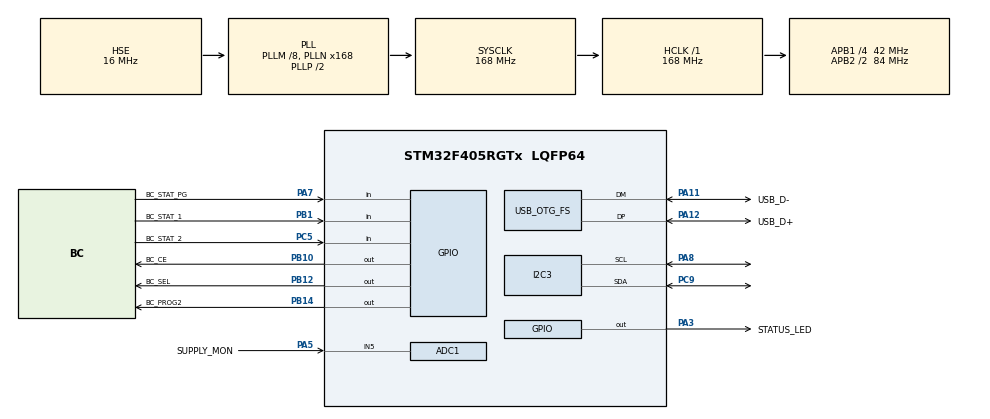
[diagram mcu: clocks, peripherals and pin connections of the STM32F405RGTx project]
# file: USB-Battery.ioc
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ADC1.Channel-0\#ChannelRegularConversion=ADC_CHANNEL_5
ADC1.ClockPrescaler=ADC_CLOCK_SYNC_PCLK_DIV8
ADC1.ContinuousConvMode=ENABLE
ADC1.DMAContinuousRequests=ENABLE
ADC1.EOCSelection=ADC_EOC_SINGLE_CONV
ADC1.NbrOfConversionFlag=1
ADC1.Rank-0\#ChannelRegularConversion=1
ADC1.SamplingTime-0\#ChannelRegularConversion=ADC_SAMPLETIME_112CYCLES
ADC1.ScanConvMode=DISABLE
ADC1.master=1
Dma.ADC1.0.Direction=DMA_PERIPH_TO_MEMORY
Dma.ADC1.0.FIFOMode=DMA_FIFOMODE_DISABLE
Dma.ADC1.0.Instance=DMA2_Stream0
Dma.ADC1.0.MemDataAlignment=DMA_MDATAALIGN_HALFWORD
Dma.ADC1.0.MemInc=DMA_MINC_DISABLE
Dma.ADC1.0.Mode=DMA_CIRCULAR
Dma.ADC1.0.PeriphDataAlignment=DMA_PDATAALIGN_HALFWORD
Dma.ADC1.0.PeriphInc=DMA_PINC_DISABLE
Dma.ADC1.0.Priority=DMA_PRIORITY_LOW
Dma.Request0=ADC1
FREERTOS.BinarySemaphores01=usbTxAvailable,Static,usbTxAvailableControlBlock
FREERTOS.Queues01=usbRxQueue,16,bcu_usb_msg,0,Static,usbRxQueueBuffer,usbRxQueueControlBlock;usbTxQueue,16,stm32_cmd_msg_t,0,Static,usbTxQueueBuffer,usbTxQueueControlBlock
FREERTOS.Tasks01=defaultTask,0,512,StartDefaultTask,Default,NULL,Dynamic,NULL,NULL;usbRxTask,0,512,UsbReceive,Default,NULL,Dynamic,NULL,NULL;usbTxTask,0,512,UsbTransmit,Default,NULL,Dynamic,NULL,NULL
FREERTOS.configMINIMAL_STACK_SIZE=512
FREERTOS.configUSE_NEWLIB_REENTRANT=1
Mcu.Family=STM32F4
Mcu.Name=STM32F405RGTx
Mcu.Package=LQFP64
NVIC.ADC_IRQn=true\:5\:0\:false\:false\:true\:true\:true\:true\:true
NVIC.DMA2_Stream0_IRQn=true\:5\:0\:false\:false\:true\:true\:false\:true\:true
NVIC.OTG_FS_IRQn=true\:5\:0\:false\:false\:true\:true\:false\:true\:true
NVIC.PriorityGroup=NVIC_PRIORITYGROUP_4
NVIC.TIM2_IRQn=true\:5\:0\:false\:false\:true\:true\:true\:true\:true
NVIC.TIM6_DAC_IRQn=true\:15\:0\:false\:false\:true\:false\:false\:true\:true
NVIC.TimeBase=TIM6_DAC_IRQn
NVIC.TimeBaseIP=TIM6
PA11.GPIO_Label=USB_D-
PA11.Mode=Device_Only
PA11.Signal=USB_OTG_FS_DM
PA12.GPIO_Label=USB_D+
PA12.Mode=Device_Only
PA12.Signal=USB_OTG_FS_DP
PA13.Mode=Trace_Asynchronous_SW
PA13.Signal=SYS_JTMS-SWDIO
PA14.Mode=Trace_Asynchronous_SW
PA14.Signal=SYS_JTCK-SWCLK
PA3.GPIO_Label=STATUS_LED
PA3.Signal=GPIO_Output
PA5.GPIO_Label=SUPPLY_MON
PA5.Signal=ADCx_IN5
PA7.GPIO_Label=BC_STAT_PG
PA7.GPIO_PuPd=GPIO_NOPULL
PA7.Signal=GPIO_Input
PA8.Mode=I2C
PA8.Signal=I2C3_SCL
PB1.GPIO_Label=BC_STAT_1
PB1.GPIO_PuPd=GPIO_NOPULL
PB1.Signal=GPIO_Input
PB10.GPIO_Label=BC_CE
PB10.Signal=GPIO_Output
PB12.GPIO_Label=BC_SEL
PB12.Signal=GPIO_Output
PB14.GPIO_Label=BC_PROG2
PB14.PinState=GPIO_PIN_SET
PB14.Signal=GPIO_Output
PB3.Mode=Trace_Asynchronous_SW
PB3.Signal=SYS_JTDO-SWO
PC5.GPIO_Label=BC_STAT_2
PC5.Signal=GPIO_Input
PC9.Mode=I2C
PC9.Signal=I2C3_SDA
PH0-OSC_IN.GPIO_Label=HSE_IN
PH0-OSC_IN.Mode=HSE-External-Oscillator
PH0-OSC_IN.Signal=RCC_OSC_IN
PH1-OSC_OUT.GPIO_Label=HSE_OUT
PH1-OSC_OUT.Mode=HSE-External-Oscillator
PH1-OSC_OUT.Signal=RCC_OSC_OUT
ProjectManager.HeapSize=0x200
ProjectManager.StackSize=0x400
ProjectManager.TargetToolchain=STM32CubeIDE
RCC.48MHZClocksFreq_Value=48000000
RCC.AHBFreq_Value=168000000
RCC.APB1CLKDivider=RCC_HCLK_DIV4
RCC.APB1Freq_Value=42000000
RCC.APB1TimFreq_Value=84000000
RCC.APB2CLKDivider=RCC_HCLK_DIV2
RCC.APB2Freq_Value=84000000
RCC.APB2TimFreq_Value=168000000
RCC.CortexFreq_Value=168000000
RCC.EnbaleCSS=true
RCC.HCLKFreq_Value=168000000
RCC.HSE_VALUE=16000000
RCC.HSI_VALUE=16000000
RCC.LSE_VALUE=32768
RCC.PLLM=8
RCC.PLLN=168
RCC.PLLQ=7
RCC.RCC_RTC_Clock_SourceVirtual=RCC_RTCCLKSOURCE_HSE_DIV16
RCC.RCC_RTC_Clock_Source_FROM_HSE=RCC_RTCCLKSOURCE_HSE_DIV16
RCC.SYSCLKFreq_VALUE=168000000
RCC.SYSCLKSource=RCC_SYSCLKSOURCE_PLLCLK
RCC.VCOOutputFreq_Value=336000000
RTC.AsynchPrediv=100-1
RTC.SynchPrediv=10000-1
SH.ADCx_IN5.0=ADC1_IN5,IN5
TIM1.Period=0xffff-1
TIM1.Prescaler=168-1
TIM2.Period=1000000-1
TIM2.Prescaler=83
USB_DEVICE.CLASS_NAME_FS=CDC
USB_DEVICE.VirtualMode-CDC_FS=Cdc
USB_DEVICE.VirtualModeFS=Cdc_FS
USB_OTG_FS.VirtualMode=Device_Only
VP_FREERTOS_VS_CMSIS_V1.Mode=CMSIS_V1
VP_RTC_VS_RTC_Activate.Mode=RTC_Enabled
VP_RTC_VS_RTC_Calendar.Mode=RTC_Calendar
VP_SYS_VS_tim6.Mode=TIM6
VP_TIM1_VS_ClockSourceINT.Mode=Internal
VP_TIM2_VS_ClockSourceINT.Mode=Internal
VP_USB_DEVICE_VS_USB_DEVICE_CDC_FS.Mode=CDC_FS
board=custom

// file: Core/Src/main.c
/* USER CODE BEGIN Header */
/**
 ******************************************************************************
 * @file           : main.c
 * @brief          : Main program body
 ******************************************************************************
 * @attention
 *
 * Copyright (c) 2024 STMicroelectronics.
 * All rights reserved.
 *
 * This software is licensed under terms that can be found in the LICENSE file
 * in the root directory of this software component.
 * If no LICENSE file comes with this software, it is provided AS-IS.
 *
 ******************************************************************************
 */
/* USER CODE END Header */
#include "main.h"
#include "cmsis_os.h"
#include "usb_device.h"

/* USER CODE BEGIN Includes */
#include "driver_ina219_interface.h"
#include "usbd_cdc_if.h"
#include "slip.h"
#include "stm32_msg.h"
/* USER CODE END Includes */

/* USER CODE BEGIN PTD */
typedef struct {
	uint8_t data[16];
} bcu_usb_msg;
/* USER CODE END PTD */

/* USER CODE BEGIN PD */
#define true 1
#define false 0
/* USER CODE END PD */

ADC_HandleTypeDef hadc1;
DMA_HandleTypeDef hdma_adc1;

I2C_HandleTypeDef hi2c3;

RTC_HandleTypeDef hrtc;

TIM_HandleTypeDef htim1;
TIM_HandleTypeDef htim2;

osThreadId defaultTaskHandle;
osThreadId usbRxTaskHandle;
osThreadId usbTxTaskHandle;
osMessageQId usbRxQueueHandle;
uint8_t usbRxQueueBuffer[ 16 * sizeof( bcu_usb_msg ) ];
osStaticMessageQDef_t usbRxQueueControlBlock;
osMessageQId usbTxQueueHandle;
uint8_t usbTxQueueBuffer[ 16 * sizeof( stm32_cmd_msg_t ) ];
osStaticMessageQDef_t usbTxQueueControlBlock;
osSemaphoreId usbTxAvailableHandle;
osStaticSemaphoreDef_t usbTxAvailableControlBlock;
/* USER CODE BEGIN PV */
static ina219_handle_t gs_handle; /**< ina219 handle */
bm_data_t bm_data = { 0, 0, 0 };
RTC_TimeTypeDef gsTime = { 0 };
RTC_DateTypeDef gsDate = { 0 };

RTC_TimeTypeDef guTime = { 0 };
RTC_DateTypeDef guDate = { 0 };
uint8_t dateReadyToSet = 0;
uint32_t upTime = 0;

/* USER CODE END PV */

void SystemClock_Config(void);
static void MX_GPIO_Init(void);
static void MX_DMA_Init(void);
static void MX_RTC_Init(void);
static void MX_TIM2_Init(void);
static void MX_TIM1_Init(void);
static void MX_I2C3_Init(void);
static void MX_ADC1_Init(void);
void StartDefaultTask(void const * argument);
void UsbReceive(void const * argument);
void UsbTransmit(void const * argument);

/* USER CODE BEGIN 0 */

uint8_t SYS_handle_request(stm32_cmd_msg_t *request_msg,
		stm32_cmd_msg_t *reply_msg) {
	uint8_t ret = STM32_CMD_STATUS_REPLY_READY;

	switch (request_msg->cmd_addr) {

	case STM_MSG_SYS_DATEH:
		reply_msg->data = ((gsDate.Month << 8) | gsDate.WeekDay);
		break;

	case STM_MSG_SYS_DATEL:
		reply_msg->data = ((gsDate.Year << 8) | gsDate.Date);
		break;

	case STM_MSG_SYS_TIMEH:
		reply_msg->data = ((gsTime.Minutes << 8) | gsTime.Hours);
		break;

	case STM_MSG_SYS_TIMEL:
		reply_msg->data = ((gsTime.TimeFormat << 8) | gsTime.Seconds);
		break;

	case STM_MSG_SYS_UPTIME:

		break;

	default:
		ret = STM32_CMD_STATUS_UNKNOWN_CMD;
		break;

	}

	return ret;
}

uint8_t SYS_handle_command(stm32_cmd_msg_t *cmd_msg) {
	uint8_t ret = STM32_CMD_STATUS_NO_REPLY;

	switch (cmd_msg->cmd_addr) {

	case STM_MSG_SYS_DATEH:
		guDate.Month = (uint8_t) (cmd_msg->data >> 8);
		guDate.WeekDay = (uint8_t) (cmd_msg->data & 0x00ff);
		break;

	case STM_MSG_SYS_DATEL:
		guDate.Year = (uint8_t) (cmd_msg->data >> 8);
		guDate.Date = (uint8_t) (cmd_msg->data & 0x00ff);
		break;

	case STM_MSG_SYS_TIMEH:
		guTime.Minutes = (uint8_t) (cmd_msg->data >> 8);
		guTime.Hours = (uint8_t) (cmd_msg->data & 0x00ff);
		// bm_data.control = cmd_msg->data;
		break;

	case STM_MSG_SYS_TIMEL:
		// bm_data.control = cmd_msg->data;
		bool setDateTime = cmd_msg->data & 0x8000;
		guTime.TimeFormat = (uint8_t) ((cmd_msg->data >> 8) & 0x0001);
		guTime.Seconds = (uint8_t) (cmd_msg->data & 0x00ff);
		if (setDateTime) {
			guTime.DayLightSaving = RTC_DAYLIGHTSAVING_NONE;
			guTime.StoreOperation = RTC_STOREOPERATION_SET;
			if (HAL_RTC_SetTime(&hrtc, &guTime, RTC_FORMAT_BIN) != HAL_OK) {
				Error_Handler();
			}

			if (HAL_RTC_SetDate(&hrtc, &guDate, RTC_FORMAT_BIN) != HAL_OK) {
				Error_Handler();
			}
		}
		break;

	default:
		ret = STM32_CMD_STATUS_UNKNOWN_CMD;
		break;
	}
	return ret;
}

/**
 * @brief      Handle request to read an INA219 register
 *
 * @param      request_msg  The request message
 * @param      reply_msg    The reply message
 *
 * @return     Status
 */
uint8_t INA219_handle_request(stm32_cmd_msg_t *request_msg,
		stm32_cmd_msg_t *reply_msg) {
	uint8_t status;
	uint8_t ret = STM32_CMD_STATUS_REPLY_READY;
	status = ina219_get_reg(&gs_handle, request_msg->cmd_addr,
			&reply_msg->data);
	if (status != 0) {
		ret = STM32_CMD_STATUS_REPLY_ERROR;
	}
	return ret;
}

/**
 * @brief      Handle command to set an INA219 register
 *
 * @param      cmd_msg  The command message
 *
 * @return     Status
 */
uint8_t INA219_handle_command(stm32_cmd_msg_t *cmd_msg) {
	uint8_t status;
	uint8_t ret = STM32_CMD_STATUS_NO_REPLY;
	status = ina219_set_reg(&gs_handle, (uint8_t) cmd_msg->cmd_addr,
			cmd_msg->data);
	if (status != 0) {
		ret = STM32_CMD_STATUS_ERROR;
	}
	return ret;
}

/**
 * @brief      Handle request to read a Battery Charger register
 *
 * @param      request_msg  The request message
 * @param      reply_msg    The reply message
 *
 * @return     Status
 */
uint8_t BC_handle_request(stm32_cmd_msg_t *request_msg,
		stm32_cmd_msg_t *reply_msg) {

	uint8_t ret = STM32_CMD_STATUS_REPLY_READY;

	switch (request_msg->cmd_addr) {

	case STM_MSG_BC_STAT:
		reply_msg->data = bm_data.stat;
		break;

	case STM_MSG_BC_CONTROL:
		reply_msg->data = bm_data.control;
		break;

	case STM_MSG_BC_VSUPPLY:
		reply_msg->data = bm_data.vsupply;
		break;

	default:
		ret = STM32_CMD_STATUS_UNKNOWN_CMD;
		break;
	}
	return ret;
}

/**
 * @brief      Handle command to set a Battery Charger register
 *
 * @param      cmd_msg  The command message
 *
 * @return     Status
 */
uint8_t BC_handle_command(stm32_cmd_msg_t *cmd_msg) {
	uint8_t ret = STM32_CMD_STATUS_NO_REPLY;

	switch (cmd_msg->cmd_addr) {

	case STM_MSG_BC_CONTROL:
		bm_data.control = cmd_msg->data;
		break;

	default:
		ret = STM32_CMD_STATUS_UNKNOWN_CMD;
		break;
	}
	return ret;
}

/**
 * @brief      USB command handler table
 */

static stm32_msg_handler_t usb_command_handler[] = { { STM32_MSG_GROUP_SYS,
		&SYS_handle_request, &SYS_handle_command }, { STM32_MSG_GROUP_INA219,
		&INA219_handle_request, &INA219_handle_command }, { STM32_MSG_GROUP_BC,
		&BC_handle_request, &BC_handle_command } };

#define STM32_MSG_GROUP_MAX ((sizeof(usb_command_handler) / sizeof(stm32_msg_handler_t)) - 1)

/**
 * @brief  interface iic bus init
 * @return status code
 *         - 0 success
 *         - 1 iic init failed
 * @note   none
 */
uint8_t ina219_hw_interface_iic_init(void) {
	return 0;
}

/**
 * @brief  interface iic bus deinit
 * @return status code
 *         - 0 success
 *         - 1 iic deinit failed
 * @note   none
 */
uint8_t ina219_hw_interface_iic_deinit(void) {
	return 0;
}

/**
 * @brief      interface iic bus read
 * @param[in]  addr is the iic device write address
 * @param[in]  reg is the iic register address
 * @param[out] *buf points to a data buffer
 * @param[in]  len is the length of the data buffer
 * @return     status code
 *             - 0 success;
 *             - 1 read failed
 * @note       none
 */
uint8_t ina219_hw_interface_iic_read(uint8_t addr, uint8_t reg, uint8_t *buf,
		uint16_t len) {
	HAL_StatusTypeDef halStatus;

	halStatus = HAL_I2C_Mem_Read(&hi2c3, addr, reg, 1, buf, len, 5000);

	return (halStatus != HAL_OK);
}

/**
 * @brief     interface iic bus write
 * @param[in] addr is the iic device write address
 * @param[in] reg is the iic register address
 * @param[in] *buf points to a data buffer
 * @param[in] len is the length of the data buffer
 * @return    status code
 *            - 0 success
 *            - 1 write failed
 * @note      none
 */
uint8_t ina219_hw_interface_iic_write(uint8_t addr, uint8_t reg, uint8_t *buf,
		uint16_t len) {
	HAL_StatusTypeDef halStatus;

	halStatus = HAL_I2C_Mem_Write(&hi2c3, addr, reg, 1, buf, len, 5000);

	return (halStatus != HAL_OK);
}

uint8_t ina219_basic_init(ina219_address_t addr_pin, double r) {
	uint8_t res;
	uint16_t calibration;

	/* link interface function */
	DRIVER_INA219_LINK_INIT(&gs_handle, ina219_handle_t);
	DRIVER_INA219_LINK_IIC_INIT(&gs_handle, ina219_hw_interface_iic_init);
	DRIVER_INA219_LINK_IIC_DEINIT(&gs_handle, ina219_hw_interface_iic_deinit);
	DRIVER_INA219_LINK_IIC_READ(&gs_handle, ina219_hw_interface_iic_read);
	DRIVER_INA219_LINK_IIC_WRITE(&gs_handle, ina219_hw_interface_iic_write);
	DRIVER_INA219_LINK_DELAY_MS(&gs_handle, ina219_interface_delay_ms);
	DRIVER_INA219_LINK_DEBUG_PRINT(&gs_handle, ina219_interface_debug_print);

	/* set addr pin */
	res = ina219_set_addr_pin(&gs_handle, addr_pin);
	if (res != 0) {
		printf("ina219: set addr pin failed.\n");

		return 1;
	}

	/* set the r */
	res = ina219_set_resistance(&gs_handle, r);
	if (res != 0) {
		printf("ina219: set resistance failed.\n");

		return 1;
	}

	/* init */
	res = ina219_init(&gs_handle);
	if (res != 0) {
		printf("ina219: init failed.\n");

		return 1;
	}

	/* set bus voltage range */
	res = ina219_set_bus_voltage_range(&gs_handle,
			INA219_BUS_VOLTAGE_RANGE_16V);
	if (res != 0) {
		printf("ina219: set bus voltage range failed.\n");
		(void) ina219_deinit(&gs_handle);

		return 1;
	}

	/* set bus voltage adc mode */
	res = ina219_set_bus_voltage_adc_mode(&gs_handle,
			INA219_ADC_MODE_12_BIT_16_SAMPLES);
	if (res != 0) {
		printf("ina219: set bus voltage adc mode failed.\n");
		(void) ina219_deinit(&gs_handle);

		return 1;
	}

	/* set shunt voltage adc mode */
	res = ina219_set_shunt_voltage_adc_mode(&gs_handle,
			INA219_ADC_MODE_12_BIT_16_SAMPLES);
	if (res != 0) {
		printf("ina219: set shunt voltage adc mode failed.\n");
		(void) ina219_deinit(&gs_handle);

		return 1;
	}

	/* set shunt bus voltage continuous */
	res = ina219_set_mode(&gs_handle, INA219_MODE_SHUNT_BUS_VOLTAGE_CONTINUOUS);
	if (res != 0) {
		printf("ina219: set mode failed.\n");
		(void) ina219_deinit(&gs_handle);

		return 1;
	}

	/* set pga */
	res = ina219_set_pga(&gs_handle, INA219_PGA_320_MV);
	if (res != 0) {
		printf("ina219: set pga failed.\n");
		(void) ina219_deinit(&gs_handle);

		return 1;
	}

	/* calculate calibration */
	res = ina219_calculate_calibration(&gs_handle, (uint16_t*) &calibration);
	if (res != 0) {
		printf("ina219: calculate calibration failed.\n");
		(void) ina219_deinit(&gs_handle);

		return 1;
	}

	/* set calibration */
	res = ina219_set_calibration(&gs_handle, calibration);
	if (res != 0) {
		printf("ina219: set calibration failed.\n");
		(void) ina219_deinit(&gs_handle);

		return 1;
	}

	return 0;
}

uint8_t ina219_basic_read(float *mV, float *mA, float *mW) {
	uint8_t res;
	int16_t s_raw;
	uint16_t u_raw;

	/* read bus voltage */
	res = ina219_read_bus_voltage(&gs_handle, (uint16_t*) &u_raw, mV);
	if (res != 0) {
		return 1;
	}

	/* read current */
	res = ina219_read_current(&gs_handle, (int16_t*) &s_raw, mA);
	if (res != 0) {
		return 1;
	}

	/* read power */
	res = ina219_read_power(&gs_handle, (uint16_t*) &u_raw, mW);
	if (res != 0) {
		return 1;
	}

	return 0;
}
/* USER CODE END 0 */

int main(void)
{
  /* USER CODE BEGIN 1 */
	uint8_t status;

  /* USER CODE END 1 */

  /* MCU Configuration--------------------------------------------------------*/

  /* Reset of all peripherals, Initializes the Flash interface and the Systick. */
  HAL_Init();

  /* Configure the system clock */
  SystemClock_Config();

  /* Initialize all configured peripherals */
  MX_GPIO_Init();
  MX_DMA_Init();
  MX_RTC_Init();
  MX_TIM2_Init();
  MX_TIM1_Init();
  MX_I2C3_Init();
  MX_ADC1_Init();
  /* USER CODE BEGIN 2 */

	// DWT_Delay_Init();
	status = ina219_basic_init(INA219_ADDRESS_0, 0.1);

	printf("INA219 Status = %d\n", status);

	HAL_GPIO_WritePin(BC_SEL_GPIO_Port, BC_SEL_Pin, GPIO_PIN_SET);
	HAL_GPIO_WritePin(BC_PROG2_GPIO_Port, BC_PROG2_Pin, GPIO_PIN_SET);

	HAL_GPIO_WritePin(BC_CE_GPIO_Port, BC_CE_Pin, GPIO_PIN_SET);

	HAL_TIM_Base_Start_IT(&htim2);

  /* USER CODE END 2 */

  /* Create the semaphores(s) */
  /* definition and creation of usbTxAvailable */
  osSemaphoreStaticDef(usbTxAvailable, &usbTxAvailableControlBlock);
  usbTxAvailableHandle = osSemaphoreCreate(osSemaphore(usbTxAvailable), 1);

  /* Create the queue(s) */
  /* definition and creation of usbRxQueue */
  osMessageQStaticDef(usbRxQueue, 16, bcu_usb_msg, usbRxQueueBuffer, &usbRxQueueControlBlock);
  usbRxQueueHandle = osMessageCreate(osMessageQ(usbRxQueue), NULL);

  /* definition and creation of usbTxQueue */
  osMessageQStaticDef(usbTxQueue, 16, stm32_cmd_msg_t, usbTxQueueBuffer, &usbTxQueueControlBlock);
  usbTxQueueHandle = osMessageCreate(osMessageQ(usbTxQueue), NULL);

  /* Create the thread(s) */
  /* definition and creation of defaultTask */
  osThreadDef(defaultTask, StartDefaultTask, osPriorityNormal, 0, 512);
  defaultTaskHandle = osThreadCreate(osThread(defaultTask), NULL);

  /* definition and creation of usbRxTask */
  osThreadDef(usbRxTask, UsbReceive, osPriorityNormal, 0, 512);
  usbRxTaskHandle = osThreadCreate(osThread(usbRxTask), NULL);

  /* definition and creation of usbTxTask */
  osThreadDef(usbTxTask, UsbTransmit, osPriorityNormal, 0, 512);
  usbTxTaskHandle = osThreadCreate(osThread(usbTxTask), NULL);

  /* Start scheduler */
  osKernelStart();

  /* We should never get here as control is now taken by the scheduler */
  /* Infinite loop */
  /* USER CODE BEGIN WHILE */

#if 0
  while (1)
  {

	  uint8_t regStatus;
	  uint8_t reg;
	  stm32_cmd_msg_t unpackedMsg;

	  memset(&unpackedMsg, 0x00, sizeof(unpackedMsg));

	  unpackedMsg.cmd_addr_group = STM32_MSG_DATA_FLAG | STM32_MSG_GROUP_INA219;

	  for (reg = 0; reg <= STM_MSG_INA219_CALIBRATION; reg++) {

		  unpackedMsg.cmd_addr = reg;

		  regStatus =  ina219_get_reg(&gs_handle, reg, &unpackedMsg.read_data);

		  if (!regStatus)
		  {
			  residue = sizeof(slipTxBuffer);
			  slipStatus =  slipSlipData((uint8_t*)&unpackedMsg, sizeof(unpackedMsg), slipTxBuffer, &residue);
			  CDC_Transmit_FS(slipTxBuffer, residue);
		  }

		  HAL_GPIO_TogglePin(STATUS_LED_GPIO_Port, STATUS_LED_Pin);
		  HAL_Delay(500);

	  }

    HAL_Delay(500);

    /* USER CODE END WHILE */

    /* USER CODE BEGIN 3 */
  }
#endif
  /* USER CODE END 3 */
}

void SystemClock_Config(void)
{
  RCC_OscInitTypeDef RCC_OscInitStruct = {0};
  RCC_ClkInitTypeDef RCC_ClkInitStruct = {0};

  /** Configure the main internal regulator output voltage
  */
  __HAL_RCC_PWR_CLK_ENABLE();
  __HAL_PWR_VOLTAGESCALING_CONFIG(PWR_REGULATOR_VOLTAGE_SCALE1);

  /** Initializes the RCC Oscillators according to the specified parameters
  * in the RCC_OscInitTypeDef structure.
  */
  RCC_OscInitStruct.OscillatorType = RCC_OSCILLATORTYPE_HSE;
  RCC_OscInitStruct.HSEState = RCC_HSE_ON;
  RCC_OscInitStruct.PLL.PLLState = RCC_PLL_ON;
  RCC_OscInitStruct.PLL.PLLSource = RCC_PLLSOURCE_HSE;
  RCC_OscInitStruct.PLL.PLLM = 8;
  RCC_OscInitStruct.PLL.PLLN = 168;
  RCC_OscInitStruct.PLL.PLLP = RCC_PLLP_DIV2;
  RCC_OscInitStruct.PLL.PLLQ = 7;
  if (HAL_RCC_OscConfig(&RCC_OscInitStruct) != HAL_OK)
  {
    Error_Handler();
  }

  /** Initializes the CPU, AHB and APB buses clocks
  */
  RCC_ClkInitStruct.ClockType = RCC_CLOCKTYPE_HCLK|RCC_CLOCKTYPE_SYSCLK
                              |RCC_CLOCKTYPE_PCLK1|RCC_CLOCKTYPE_PCLK2;
  RCC_ClkInitStruct.SYSCLKSource = RCC_SYSCLKSOURCE_PLLCLK;
  RCC_ClkInitStruct.AHBCLKDivider = RCC_SYSCLK_DIV1;
  RCC_ClkInitStruct.APB1CLKDivider = RCC_HCLK_DIV4;
  RCC_ClkInitStruct.APB2CLKDivider = RCC_HCLK_DIV2;

  if (HAL_RCC_ClockConfig(&RCC_ClkInitStruct, FLASH_LATENCY_5) != HAL_OK)
  {
    Error_Handler();
  }

  /** Enables the Clock Security System
  */
  HAL_RCC_EnableCSS();
}

static void MX_ADC1_Init(void)
{

  ADC_ChannelConfTypeDef sConfig = {0};

  /** Configure the global features of the ADC (Clock, Resolution, Data Alignment and number of conversion)
  */
  hadc1.Instance = ADC1;
  hadc1.Init.ClockPrescaler = ADC_CLOCK_SYNC_PCLK_DIV8;
  hadc1.Init.Resolution = ADC_RESOLUTION_12B;
  hadc1.Init.ScanConvMode = DISABLE;
  hadc1.Init.ContinuousConvMode = ENABLE;
  hadc1.Init.DiscontinuousConvMode = DISABLE;
  hadc1.Init.ExternalTrigConvEdge = ADC_EXTERNALTRIGCONVEDGE_NONE;
  hadc1.Init.ExternalTrigConv = ADC_SOFTWARE_START;
  hadc1.Init.DataAlign = ADC_DATAALIGN_RIGHT;
  hadc1.Init.NbrOfConversion = 1;
  hadc1.Init.DMAContinuousRequests = ENABLE;
  hadc1.Init.EOCSelection = ADC_EOC_SINGLE_CONV;
  if (HAL_ADC_Init(&hadc1) != HAL_OK)
  {
    Error_Handler();
  }

  /** Configure for the selected ADC regular channel its corresponding rank in the sequencer and its sample time.
  */
  sConfig.Channel = ADC_CHANNEL_5;
  sConfig.Rank = 1;
  sConfig.SamplingTime = ADC_SAMPLETIME_112CYCLES;
  if (HAL_ADC_ConfigChannel(&hadc1, &sConfig) != HAL_OK)
  {
    Error_Handler();
  }

}

static void MX_I2C3_Init(void)
{

  hi2c3.Instance = I2C3;
  hi2c3.Init.ClockSpeed = 100000;
  hi2c3.Init.DutyCycle = I2C_DUTYCYCLE_2;
  hi2c3.Init.OwnAddress1 = 0;
  hi2c3.Init.AddressingMode = I2C_ADDRESSINGMODE_7BIT;
  hi2c3.Init.DualAddressMode = I2C_DUALADDRESS_DISABLE;
  hi2c3.Init.OwnAddress2 = 0;
  hi2c3.Init.GeneralCallMode = I2C_GENERALCALL_DISABLE;
  hi2c3.Init.NoStretchMode = I2C_NOSTRETCH_DISABLE;
  if (HAL_I2C_Init(&hi2c3) != HAL_OK)
  {
    Error_Handler();
  }

}

static void MX_RTC_Init(void)
{

  RTC_TimeTypeDef sTime = {0};
  RTC_DateTypeDef sDate = {0};

  /** Initialize RTC Only
  */
  hrtc.Instance = RTC;
  hrtc.Init.HourFormat = RTC_HOURFORMAT_24;
  hrtc.Init.AsynchPrediv = 100-1;
  hrtc.Init.SynchPrediv = 10000-1;
  hrtc.Init.OutPut = RTC_OUTPUT_DISABLE;
  hrtc.Init.OutPutPolarity = RTC_OUTPUT_POLARITY_HIGH;
  hrtc.Init.OutPutType = RTC_OUTPUT_TYPE_OPENDRAIN;
  if (HAL_RTC_Init(&hrtc) != HAL_OK)
  {
    Error_Handler();
  }

  /** Initialize RTC and set the Time and Date
  */
  sTime.Hours = 0x0;
  sTime.Minutes = 0x0;
  sTime.Seconds = 0x0;
  sTime.DayLightSaving = RTC_DAYLIGHTSAVING_NONE;
  sTime.StoreOperation = RTC_STOREOPERATION_RESET;
  if (HAL_RTC_SetTime(&hrtc, &sTime, RTC_FORMAT_BCD) != HAL_OK)
  {
    Error_Handler();
  }
  sDate.WeekDay = RTC_WEEKDAY_MONDAY;
  sDate.Month = RTC_MONTH_JANUARY;
  sDate.Date = 0x1;
  sDate.Year = 0x0;

  if (HAL_RTC_SetDate(&hrtc, &sDate, RTC_FORMAT_BCD) != HAL_OK)
  {
    Error_Handler();
  }

}

static void MX_TIM1_Init(void)
{

  TIM_ClockConfigTypeDef sClockSourceConfig = {0};
  TIM_MasterConfigTypeDef sMasterConfig = {0};

  htim1.Instance = TIM1;
  htim1.Init.Prescaler = 168-1;
  htim1.Init.CounterMode = TIM_COUNTERMODE_UP;
  htim1.Init.Period = 0xffff-1;
  htim1.Init.ClockDivision = TIM_CLOCKDIVISION_DIV1;
  htim1.Init.RepetitionCounter = 0;
  htim1.Init.AutoReloadPreload = TIM_AUTORELOAD_PRELOAD_DISABLE;
  if (HAL_TIM_Base_Init(&htim1) != HAL_OK)
  {
    Error_Handler();
  }
  sClockSourceConfig.ClockSource = TIM_CLOCKSOURCE_INTERNAL;
  if (HAL_TIM_ConfigClockSource(&htim1, &sClockSourceConfig) != HAL_OK)
  {
    Error_Handler();
  }
  sMasterConfig.MasterOutputTrigger = TIM_TRGO_RESET;
  sMasterConfig.MasterSlaveMode = TIM_MASTERSLAVEMODE_DISABLE;
  if (HAL_TIMEx_MasterConfigSynchronization(&htim1, &sMasterConfig) != HAL_OK)
  {
    Error_Handler();
  }

}

static void MX_TIM2_Init(void)
{

  TIM_ClockConfigTypeDef sClockSourceConfig = {0};
  TIM_MasterConfigTypeDef sMasterConfig = {0};

  htim2.Instance = TIM2;
  htim2.Init.Prescaler = 83;
  htim2.Init.CounterMode = TIM_COUNTERMODE_UP;
  htim2.Init.Period = 1000000-1;
  htim2.Init.ClockDivision = TIM_CLOCKDIVISION_DIV1;
  htim2.Init.AutoReloadPreload = TIM_AUTORELOAD_PRELOAD_DISABLE;
  if (HAL_TIM_Base_Init(&htim2) != HAL_OK)
  {
    Error_Handler();
  }
  sClockSourceConfig.ClockSource = TIM_CLOCKSOURCE_INTERNAL;
  if (HAL_TIM_ConfigClockSource(&htim2, &sClockSourceConfig) != HAL_OK)
  {
    Error_Handler();
  }
  sMasterConfig.MasterOutputTrigger = TIM_TRGO_RESET;
  sMasterConfig.MasterSlaveMode = TIM_MASTERSLAVEMODE_DISABLE;
  if (HAL_TIMEx_MasterConfigSynchronization(&htim2, &sMasterConfig) != HAL_OK)
  {
    Error_Handler();
  }

}

static void MX_DMA_Init(void)
{

  /* DMA controller clock enable */
  __HAL_RCC_DMA2_CLK_ENABLE();

  /* DMA interrupt init */
  /* DMA2_Stream0_IRQn interrupt configuration */
  HAL_NVIC_SetPriority(DMA2_Stream0_IRQn, 5, 0);
  HAL_NVIC_EnableIRQ(DMA2_Stream0_IRQn);

}

static void MX_GPIO_Init(void)
{
  GPIO_InitTypeDef GPIO_InitStruct = {0};

  /* GPIO Ports Clock Enable */
  __HAL_RCC_GPIOH_CLK_ENABLE();
  __HAL_RCC_GPIOA_CLK_ENABLE();
  __HAL_RCC_GPIOC_CLK_ENABLE();
  __HAL_RCC_GPIOB_CLK_ENABLE();

  /*Configure GPIO pin Output Level */
  HAL_GPIO_WritePin(STATUS_LED_GPIO_Port, STATUS_LED_Pin, GPIO_PIN_RESET);

  /*Configure GPIO pin Output Level */
  HAL_GPIO_WritePin(GPIOB, BC_CE_Pin|BC_SEL_Pin, GPIO_PIN_RESET);

  /*Configure GPIO pin Output Level */
  HAL_GPIO_WritePin(BC_PROG2_GPIO_Port, BC_PROG2_Pin, GPIO_PIN_SET);

  /*Configure GPIO pin : STATUS_LED_Pin */
  GPIO_InitStruct.Pin = STATUS_LED_Pin;
  GPIO_InitStruct.Mode = GPIO_MODE_OUTPUT_PP;
  GPIO_InitStruct.Pull = GPIO_NOPULL;
  GPIO_InitStruct.Speed = GPIO_SPEED_FREQ_LOW;
  HAL_GPIO_Init(STATUS_LED_GPIO_Port, &GPIO_InitStruct);

  /*Configure GPIO pin : BC_STAT_PG_Pin */
  GPIO_InitStruct.Pin = BC_STAT_PG_Pin;
  GPIO_InitStruct.Mode = GPIO_MODE_INPUT;
  GPIO_InitStruct.Pull = GPIO_NOPULL;
  HAL_GPIO_Init(BC_STAT_PG_GPIO_Port, &GPIO_InitStruct);

  /*Configure GPIO pin : BC_STAT_2_Pin */
  GPIO_InitStruct.Pin = BC_STAT_2_Pin;
  GPIO_InitStruct.Mode = GPIO_MODE_INPUT;
  GPIO_InitStruct.Pull = GPIO_NOPULL;
  HAL_GPIO_Init(BC_STAT_2_GPIO_Port, &GPIO_InitStruct);

  /*Configure GPIO pin : BC_STAT_1_Pin */
  GPIO_InitStruct.Pin = BC_STAT_1_Pin;
  GPIO_InitStruct.Mode = GPIO_MODE_INPUT;
  GPIO_InitStruct.Pull = GPIO_NOPULL;
  HAL_GPIO_Init(BC_STAT_1_GPIO_Port, &GPIO_InitStruct);

  /*Configure GPIO pins : BC_CE_Pin BC_SEL_Pin BC_PROG2_Pin */
  GPIO_InitStruct.Pin = BC_CE_Pin|BC_SEL_Pin|BC_PROG2_Pin;
  GPIO_InitStruct.Mode = GPIO_MODE_OUTPUT_PP;
  GPIO_InitStruct.Pull = GPIO_NOPULL;
  GPIO_InitStruct.Speed = GPIO_SPEED_FREQ_LOW;
  HAL_GPIO_Init(GPIOB, &GPIO_InitStruct);

}

/* USER CODE BEGIN 4 */
#ifdef BATTERY_DEBUG_USB
int _write(int file, char *ptr, int len) {
    CDC_Transmit_FS((uint8_t*) ptr, len); return len;
}
#else
# ifdef BATTERY_DEBUG_SWO
int __io_putchar(int ch) {
	// Write character to ITM ch.0
	ITM_SendChar(ch);
	return (ch);
}
# endif
#endif

void UsbTxCompleteCallBack(uint8_t *Buf, uint32_t Len) {
	UNUSED(Buf);
	UNUSED(Len);

	BaseType_t xHigherPriorityTaskWoken = pdFALSE;

	xSemaphoreGiveFromISR(usbTxAvailableHandle, &xHigherPriorityTaskWoken);

	portYIELD_FROM_ISR(xHigherPriorityTaskWoken);
}

void UsbRxCallBack(uint8_t *Buf, uint32_t Len) {
	BaseType_t xHigherPriorityTaskWoken = pdFALSE;

	// Need to apply some back pressure to the client if the queue is filling up...

	if (Len <= 16) {
		if (xQueueIsQueueFullFromISR(usbRxQueueHandle) == pdFALSE) {

			xQueueSendToBackFromISR(usbRxQueueHandle, Buf,
					&xHigherPriorityTaskWoken);
		} else {
			printf("usbRxQueue full");
		}

		if (xHigherPriorityTaskWoken) {
			portYIELD_FROM_ISR(xHigherPriorityTaskWoken);
		}
	}
	return;
}
/* USER CODE END 4 */

void StartDefaultTask(void const * argument)
{
  /* init code for USB_DEVICE */
  MX_USB_DEVICE_Init();
  /* USER CODE BEGIN 5 */
	GPIO_PinState pinState;
	uint16_t lastControl = bm_data.control;
	uint32_t AD_RES[6] = { 0 };
	/* Infinite loop */
	HAL_ADC_Start_DMA(&hadc1, &AD_RES[0], 3);
	for (;;) {

		bm_data.stat = 0;

		bm_data.vsupply = (uint16_t) AD_RES[0];

		// printf("vs %d %ld\n", bm_data.vsupply, HAL_ADC_GetError(&hadc1));

		pinState = HAL_GPIO_ReadPin(BC_STAT_PG_GPIO_Port, BC_STAT_PG_Pin);
		bm_data.stat |= ((pinState == GPIO_PIN_RESET) << 0);

		pinState = HAL_GPIO_ReadPin(BC_STAT_2_GPIO_Port, BC_STAT_2_Pin);
		bm_data.stat |= ((pinState == GPIO_PIN_RESET) << 1);

		pinState = HAL_GPIO_ReadPin(BC_STAT_1_GPIO_Port, BC_STAT_1_Pin);
		bm_data.stat |= ((pinState == GPIO_PIN_RESET) << 2);

		if (lastControl != bm_data.control) {
			HAL_GPIO_WritePin(BC_SEL_GPIO_Port, BC_SEL_Pin,
					bm_data.control & 0x0001 ? GPIO_PIN_SET : GPIO_PIN_RESET);
			HAL_GPIO_WritePin(BC_PROG2_GPIO_Port, BC_PROG2_Pin,
					bm_data.control & 0x0002 ? GPIO_PIN_SET : GPIO_PIN_RESET);
			HAL_GPIO_WritePin(BC_CE_GPIO_Port, BC_CE_Pin,
					bm_data.control & 0x0004 ? GPIO_PIN_SET : GPIO_PIN_RESET);
			lastControl = bm_data.control;
		}

		HAL_StatusTypeDef res;

		res = HAL_RTC_GetTime(&hrtc, &gsTime, RTC_FORMAT_BIN);
		if (res != HAL_OK) {
			printf("HAL_RTC_GetTime failed: %d\r\n", res);
			return;
		}

		res = HAL_RTC_GetDate(&hrtc, &gsDate, RTC_FORMAT_BIN);
		if (res != HAL_OK) {
			printf("HAL_RTC_GetDate failed: %d\r\n", res);
			return;
		}

		osDelay(1000);
	}
  /* USER CODE END 5 */
}

void UsbReceive(void const * argument)
{
  /* USER CODE BEGIN UsbReceive */
	/* Infinite loop */
	bcu_usb_msg rxMessage;
	stm32_cmd_msg_t cmdMsg;
	slip_context_t context;
	slip_status_t status;
	for (;;) {
		if (xQueueReceive(usbRxQueueHandle, &(rxMessage),
				(TickType_t) 10)!= pdPASS) {
			// No message ready
			osDelay(1);
		} else {
			// Unslip the message
			slipSetRxBuffer(&context, (uint8_t*) &cmdMsg, sizeof(cmdMsg));
			status = slipUnslipData(&context, (uint8_t*) &rxMessage,
					sizeof(rxMessage));

			if (status != FRAME_COMPLETE) {
				printf("Incomplete Message %d \n", status);
			} else {
				if (xQueueSendToBack(usbTxQueueHandle, (uint8_t* ) &cmdMsg,
						0) == pdFALSE) {
					printf("Tx Q full\n");
				}
			}

		}

	}
  /* USER CODE END UsbReceive */
}

void UsbTransmit(void const * argument)
{
  /* USER CODE BEGIN UsbTransmit */
	/* Infinite loop */
	stm32_cmd_msg_t usbMsg;
	stm32_cmd_msg_t replyMsg;
	uint8_t cmdAddrGroup;
	uint8_t slipTxBuffer[32];
	slip_status_t slipStatus;
	uint32_t residue;
	uint8_t usbSendStatus;
	uint8_t cmdStatus;

	for (;;) {
		if (xQueueReceive(usbTxQueueHandle, &(usbMsg),
				(TickType_t) 10) != pdPASS) {
			// No message ready
			osDelay(1);
		} else {
			usbSendStatus = USBD_OK;

			// Check that the message group is valid
			cmdAddrGroup = (usbMsg.cmd_addr_group & ~STM32_MSG_DATA_FLAG);
			if (cmdAddrGroup <= STM32_MSG_GROUP_MAX) {
				if (((usbMsg.cmd_addr_group & STM32_MSG_DATA_FLAG) >> 7)) {
					// Execute the command, there is no response
					cmdStatus = usb_command_handler[cmdAddrGroup].command_msg(
							&usbMsg);
				} else {
					// Execute the command, expect a response
					replyMsg.cmd_addr_group = (usbMsg.cmd_addr_group
							| STM32_MSG_DATA_FLAG);
					replyMsg.cmd_addr = usbMsg.cmd_addr;

					cmdStatus = usb_command_handler[cmdAddrGroup].request_msg(
							&usbMsg, &replyMsg);
				}
			}

			if (cmdStatus == STM32_CMD_STATUS_REPLY_READY) {
				residue = sizeof(slipTxBuffer);
				slipStatus = slipSlipData((uint8_t*) &replyMsg,
						sizeof(replyMsg), slipTxBuffer, &residue);

				if (slipStatus != FRAME_COMPLETE) {
					printf("Frame Err : %d\n", slipStatus);
				} else {
					// Start sending the response
					usbSendStatus = CDC_Transmit_FS(slipTxBuffer, residue);

					if (usbSendStatus == USBD_OK) {
						// Wait here for the callback to complete
						if (xSemaphoreTake(usbTxAvailableHandle,
								10000) != pdTRUE) {
							printf("Timeout on semaphore\n");
						}
					}
				}

				if (usbSendStatus != USBD_OK) {
					printf("USB Err : %d\n", usbSendStatus);
				}
			}
		}
	}
  /* USER CODE END UsbTransmit */
}

void HAL_TIM_PeriodElapsedCallback(TIM_HandleTypeDef *htim)
{
  /* USER CODE BEGIN Callback 0 */
  if (htim->Instance == TIM2) {
    upTime++;
    printf("%.2d %ld\n", gsTime.Seconds, upTime);
  }

  /* USER CODE END Callback 0 */
  if (htim->Instance == TIM6) {
    HAL_IncTick();
  }
}

void Error_Handler(void)
{
	__disable_irq();
	while (1) {
	}
}
